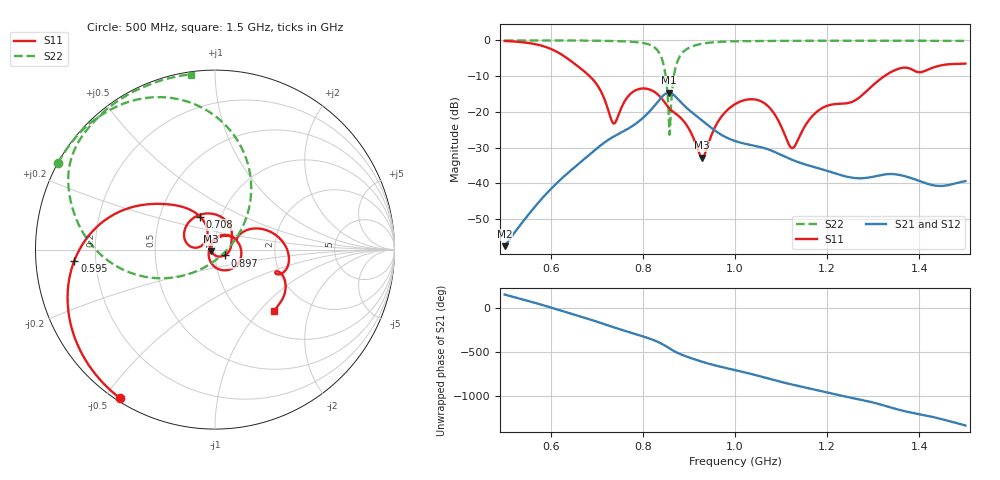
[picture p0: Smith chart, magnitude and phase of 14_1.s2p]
! TOUCHSTONE file generated by CST MICROWAVE STUDIO
! Date and time: Fri Oct  2 18:52:25 2020
! Project name: Scenario_1_Free_Space_out_of_line.cst
! Parameters = {Lambda=346.42; Step_1=17.321; dy1=122.207; dx1=173; L_HA=400; MT=2.54; Rad_Dielectric=30; Rad_Lower=7.3; Rad_Upper=30; a_HA=580; a_WG=246; b_HA=500; b_WG=121; c_HA=0; c_WG=187; d_feed=85; h_feed=15; h_lower=18; h_upper=40}
! Header version: 2018
! Port assignment regex: !\s*Touchstone port\s*([0-9]+)\s*=\s*(CST MWS port|CST DS port)\s*([0-9]+|Zmin|Zmax)\s*\(\"(.*)\"\)(\s*mode\s*([0-9]+))?.*
! Touchstone port assignment:
! Touchstone port 1 = CST MWS port 1 ("")
! Touchstone port 2 = CST MWS port 2 ("")
# GHz S DB R 50
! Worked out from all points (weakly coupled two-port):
!   1003 points, 500 MHz to 1.5 GHz, reference 50 ohm
!   highest |S21| = -14.61 dB at 856 MHz (marker M1); lowest = -57.5 dB at 500 MHz (marker M2)
!   lowest |S11| = -32.8 dB at 929 MHz (marker M3), VSWR 1.05, Z = 48 - j0.946 ohm
!   |S11| at or under -10 dB: 684.6 MHz to 1.324 GHz (639.3 MHz wide, 63.7 % of centre)
!   |S22| runs from -26.4 to 0.0 dB; largest |S21 - S12| = 9.3e-05
!   S11 on the Smith chart (normalised r, x): 500 MHz: 0.01, -0.55; 595 MHz: 0.12, -0.04; 708 MHz: 0.80, +0.30; 897 MHz: 1.11, -0.07; 1.5 GHz: 1.37, -1.21
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0.5  -0.15 -122.7  -57.53 159.3  -57.53 159.3  -0.01 151.1
0.556  -0.80 -150.8  -48.02 79.1  -48.02 79.1  -0.01 147.3
0.595  -2.09 -175.5  -42.27 19.7  -42.27 19.7  -0.02 144.5
0.667  -8.05 140.0  -33.81 -95.7  -33.81 -95.7  -0.04 138.3
0.708  -13.97 114.2  -29.39 -163.8  -29.39 -163.8  -0.10 133.7
0.737  -23.22 144.4  -26.87 144.9  -26.87 144.9  -0.17 129.7
0.781  -14.17 151.5  -23.62 72.4  -23.62 72.4  -0.41 120.4
0.834  -15.29 68.9  -16.90 -24.8  -16.90 -24.8  -3.16 85.1
0.847  -17.25 47.5  -15.10 -60.7  -15.10 -60.7  -7.98 59.6
0.856  -18.78 35.8  -14.61 -89.8  -14.61 -89.8  -20.61 15.4
0.861  -19.45 30.2  -14.74 -106.1  -14.74 -106.1  -18.74 -120.9
0.867  -20.08 22.9  -15.25 -124.5  -15.25 -124.5  -10.24 -148.9
0.874  -20.74 12.6  -16.11 -143.7  -16.11 -143.7  -6.27 -164.5
0.897  -24.08 -31.1  -19.09 167.1  -19.09 167.1  -2.27 169.8
0.929  -32.78 -154.6  -22.45 111.1  -22.45 111.1  -0.92 155.4
0.964  -22.55 79.6  -25.88 60.8  -25.88 60.8  -0.41 146.4
1  -17.82 24.5  -28.12 16.6  -28.12 16.6  -0.25 140.3
1.066  -17.77 -63.3  -30.20 -71.1  -30.21 -71.1  -0.16 132.9
1.124  -30.10 160.3  -33.38 -148.8  -33.38 -148.8  -0.11 127.7
1.167  -21.27 61.0  -35.24 159.8  -35.24 159.8  -0.10 124.2
1.334  -9.18 13.6  -37.36 -44.6  -37.37 -44.5  -0.09 111.5
1.5  -6.47 -45.8  -39.33 103.9  -39.28 104.2  -0.13 97.8
